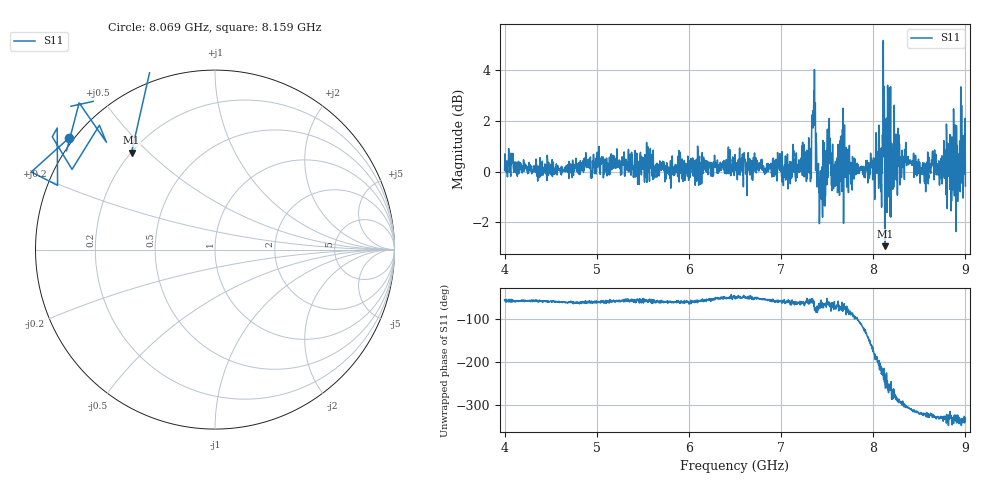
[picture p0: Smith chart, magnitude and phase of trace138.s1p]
! Created with skrf 1.8.0 (http://scikit-rf.org).
# Hz S RI R 50.0
!freq ReS11 ImS11
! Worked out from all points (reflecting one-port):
!   1601 points, 4 GHz to 9 GHz, reference 50 ohm
!   lowest |S11| = -2.9 dB at 8.125 GHz (marker M1), VSWR 5.97, Z = 10.1 + j22.2 ohm
!   phase of S11 starts at -55 deg and turns -274 deg over the sweep
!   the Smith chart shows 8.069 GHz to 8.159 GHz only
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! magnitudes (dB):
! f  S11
! 4 GHz  0.0
! 4.625 GHz  0.0
! 5.25 GHz  0.1
! 5.875 GHz  0.0
! 6.5 GHz  0.7
! 7.125 GHz  0.5
! 7.294 GHz  0.4
! 7.356 GHz  3.2
! 7.4 GHz  -0.4
! 7.425 GHz  -0.5
! 7.512 GHz  1.0
! 7.591 GHz  0.4
! 7.662 GHz  -0.7
! 7.75 GHz  0.2
! 8 GHz  0.1
! 8.047 GHz  -0.1
! 8.066 GHz  0.5
! 8.125 GHz  -2.9
! 8.147 GHz  2.1
! 8.162 GHz  1.0
! 8.209 GHz  0.9
! 8.253 GHz  0.8
! 8.375 GHz  0.5
! 8.578 GHz  -0.2
! 8.816 GHz  -0.2
! 8.9 GHz  -2.4
! 8.972 GHz  0.3
! 9 GHz  -0.6
